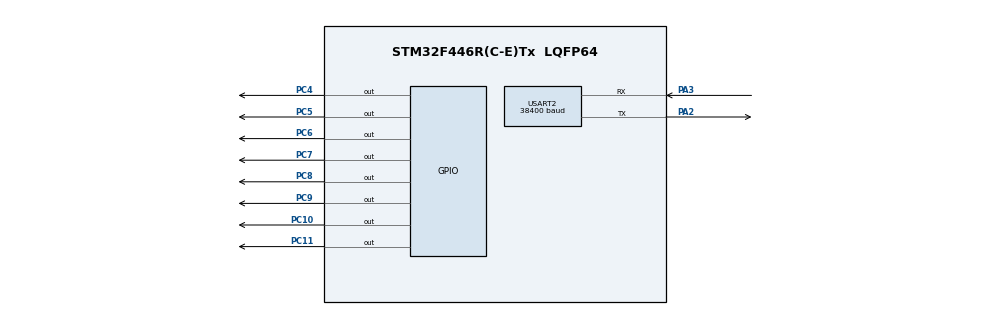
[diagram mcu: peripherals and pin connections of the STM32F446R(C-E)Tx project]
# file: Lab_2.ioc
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Mcu.Family=STM32F4
Mcu.Name=STM32F446R(C-E)Tx
Mcu.Package=LQFP64
NVIC.PriorityGroup=NVIC_PRIORITYGROUP_4
NVIC.USART2_IRQn=true\:0\:0\:false\:false\:true\:true\:true\:true
PA2.Mode=Asynchronous
PA2.Signal=USART2_TX
PA3.Mode=Asynchronous
PA3.Signal=USART2_RX
PC10.Signal=GPIO_Output
PC11.Signal=GPIO_Output
PC4.Signal=GPIO_Output
PC5.Signal=GPIO_Output
PC6.Signal=GPIO_Output
PC7.Signal=GPIO_Output
PC8.Signal=GPIO_Output
PC9.Signal=GPIO_Output
ProjectManager.HeapSize=0x200
ProjectManager.StackSize=0x400
ProjectManager.TargetToolchain=STM32CubeIDE
RCC.CortexFreq_Value=16000000
RCC.USBFreq_Value=96000000
RCC.VCOOutputFreq_Value=192000000
USART2.BaudRate=38400
USART2.VirtualMode=VM_ASYNC
board=custom

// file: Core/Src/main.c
/* USER CODE BEGIN Header */
/**
  ******************************************************************************
  * @file           : main.c
  * @brief          : Main program body
  ******************************************************************************
  * @attention
  *
  * Copyright (c) 2024 STMicroelectronics.
  * All rights reserved.
  *
  * This software is licensed under terms that can be found in the LICENSE file
  * in the root directory of this software component.
  * If no LICENSE file comes with this software, it is provided AS-IS.
  *
  ******************************************************************************
  */
/* USER CODE END Header */
#include "main.h"

/* USER CODE BEGIN Includes */
#include "string.h"
/* USER CODE END Includes */

/* USER CODE BEGIN PD */
#define COMMAND_SIZE 10
#define START_SYMBOL 'S'
#define END_SYMBOL 'E'
#define INVALID_COMMAND "INVALID_COMND"
#define PING_COMMAND "COMND_PING"
#define TURN_ON_ALL_LEDS "LEDS_ALL_1"
#define TURN_OFF_ALL_LEDS "LEDS_ALL_0"
#define LED_STATUS "LED_STATUS"
/* USER CODE END PD */

 UART_HandleTypeDef huart2;

void SystemClock_Config(void);
static void MX_GPIO_Init(void);
static void MX_USART2_UART_Init(void);
/* USER CODE BEGIN PFP */
void handle_invalid_command();
void handle_command(char* command);
/* USER CODE END PFP */

/* USER CODE BEGIN 0 */
uint8_t rxData[12];
uint16_t leds[8] = {GPIO_PIN_4, GPIO_PIN_5, GPIO_PIN_6, GPIO_PIN_7,
		  	  	    GPIO_PIN_8, GPIO_PIN_9, GPIO_PIN_10, GPIO_PIN_11};
/* USER CODE END 0 */

int main(void)
{

  /* MCU Configuration--------------------------------------------------------*/

  /* Reset of all peripherals, Initializes the Flash interface and the Systick. */
  HAL_Init();

  /* Configure the system clock */
  SystemClock_Config();

  /* Initialize all configured peripherals */
  MX_GPIO_Init();
  MX_USART2_UART_Init();
  /* USER CODE BEGIN 2 */
  HAL_UART_Receive_IT(&huart2, rxData, sizeof(rxData));
  /* USER CODE END 2 */

  /* Infinite loop */
  while (1)
  {

  }
}

void SystemClock_Config(void)
{
  RCC_OscInitTypeDef RCC_OscInitStruct = {0};
  RCC_ClkInitTypeDef RCC_ClkInitStruct = {0};

  /** Configure the main internal regulator output voltage
  */
  __HAL_RCC_PWR_CLK_ENABLE();
  __HAL_PWR_VOLTAGESCALING_CONFIG(PWR_REGULATOR_VOLTAGE_SCALE3);

  /** Initializes the RCC Oscillators according to the specified parameters
  * in the RCC_OscInitTypeDef structure.
  */
  RCC_OscInitStruct.OscillatorType = RCC_OSCILLATORTYPE_HSI;
  RCC_OscInitStruct.HSIState = RCC_HSI_ON;
  RCC_OscInitStruct.HSICalibrationValue = RCC_HSICALIBRATION_DEFAULT;
  RCC_OscInitStruct.PLL.PLLState = RCC_PLL_NONE;
  if (HAL_RCC_OscConfig(&RCC_OscInitStruct) != HAL_OK)
  {
    Error_Handler();
  }

  /** Initializes the CPU, AHB and APB buses clocks
  */
  RCC_ClkInitStruct.ClockType = RCC_CLOCKTYPE_HCLK|RCC_CLOCKTYPE_SYSCLK
                              |RCC_CLOCKTYPE_PCLK1|RCC_CLOCKTYPE_PCLK2;
  RCC_ClkInitStruct.SYSCLKSource = RCC_SYSCLKSOURCE_HSI;
  RCC_ClkInitStruct.AHBCLKDivider = RCC_SYSCLK_DIV1;
  RCC_ClkInitStruct.APB1CLKDivider = RCC_HCLK_DIV1;
  RCC_ClkInitStruct.APB2CLKDivider = RCC_HCLK_DIV1;

  if (HAL_RCC_ClockConfig(&RCC_ClkInitStruct, FLASH_LATENCY_0) != HAL_OK)
  {
    Error_Handler();
  }
}

static void MX_USART2_UART_Init(void)
{

  huart2.Instance = USART2;
  huart2.Init.BaudRate = 38400;
  huart2.Init.WordLength = UART_WORDLENGTH_8B;
  huart2.Init.StopBits = UART_STOPBITS_1;
  huart2.Init.Parity = UART_PARITY_NONE;
  huart2.Init.Mode = UART_MODE_TX_RX;
  huart2.Init.HwFlowCtl = UART_HWCONTROL_NONE;
  huart2.Init.OverSampling = UART_OVERSAMPLING_16;
  if (HAL_UART_Init(&huart2) != HAL_OK)
  {
    Error_Handler();
  }

}

static void MX_GPIO_Init(void)
{
  GPIO_InitTypeDef GPIO_InitStruct = {0};

  /* GPIO Ports Clock Enable */
  __HAL_RCC_GPIOA_CLK_ENABLE();
  __HAL_RCC_GPIOC_CLK_ENABLE();

  /*Configure GPIO pin Output Level */
  HAL_GPIO_WritePin(GPIOC, GPIO_PIN_4|GPIO_PIN_5|GPIO_PIN_6|GPIO_PIN_7
                          |GPIO_PIN_8|GPIO_PIN_9|GPIO_PIN_10|GPIO_PIN_11, GPIO_PIN_RESET);

  /*Configure GPIO pins : PC4 PC5 PC6 PC7
                           PC8 PC9 PC10 PC11 */
  GPIO_InitStruct.Pin = GPIO_PIN_4|GPIO_PIN_5|GPIO_PIN_6|GPIO_PIN_7
                          |GPIO_PIN_8|GPIO_PIN_9|GPIO_PIN_10|GPIO_PIN_11;
  GPIO_InitStruct.Mode = GPIO_MODE_OUTPUT_PP;
  GPIO_InitStruct.Pull = GPIO_NOPULL;
  GPIO_InitStruct.Speed = GPIO_SPEED_FREQ_LOW;
  HAL_GPIO_Init(GPIOC, &GPIO_InitStruct);

}

/* USER CODE BEGIN 4 */
void handle_invalid_command() {
	HAL_UART_Transmit_IT(&huart2, (uint8_t *)INVALID_COMMAND, strlen(INVALID_COMMAND));
}

void handle_command(char* command) {
  if (strncmp(command, PING_COMMAND, COMMAND_SIZE) == 0) {
	  HAL_UART_Transmit_IT(&huart2, (uint8_t *)PING_COMMAND, strlen(PING_COMMAND));
	  return;
  }
  if (strncmp(command, TURN_ON_ALL_LEDS, COMMAND_SIZE) == 0) {
	  for (int i = 0; i < sizeof(leds) / sizeof(leds[0]); i++)
		  HAL_GPIO_WritePin(GPIOC, leds[i], GPIO_PIN_SET);
	  HAL_UART_Transmit_IT(&huart2, (uint8_t *)"LEDS_TURNED_ON", 14);
	  return;
  }
  if (strncmp(command, TURN_OFF_ALL_LEDS, COMMAND_SIZE) == 0) {
      for (int i = 0; i < sizeof(leds) / sizeof(leds[0]); i++)
      	  HAL_GPIO_WritePin(GPIOC, leds[i], GPIO_PIN_RESET);
      HAL_UART_Transmit_IT(&huart2, (uint8_t *)"LEDS_TURNED_OFF", 15);
      return;
  }
  if (command[0] == '0' && command[1] == 'b') {
	  for (int i = 2; i < COMMAND_SIZE; i++) {
		  if (command[i] == '1') {
			  HAL_GPIO_WritePin(GPIOC, leds[i - 2], GPIO_PIN_SET);
		  } else if (command[i] == '0') {
		  	  HAL_GPIO_WritePin(GPIOC, leds[i - 2], GPIO_PIN_RESET);
		  }
	  }
	  HAL_UART_Transmit_IT(&huart2, (uint8_t *)"LEDS_CONFIGURATED", 17);
	  return;
  }
  if (strncmp(command, LED_STATUS, COMMAND_SIZE) == 0) {
	  char temp[10] = {'0', 'b', '0', '0', '0', '0', '0', '0', '0', '0'};
	  for (int i = 0; i < sizeof(leds) / sizeof(leds[0]); i++)
		  if (HAL_GPIO_ReadPin(GPIOC, leds[i]) == GPIO_PIN_SET) temp[i + 2] = '1';
      HAL_UART_Transmit(&huart2, (uint8_t *)temp, strlen(temp) - 3, HAL_MAX_DELAY); // this is curious
      return;
  }
  handle_invalid_command();
}

void HAL_UART_RxCpltCallback(UART_HandleTypeDef *huart) {
	if (huart->Instance == USART2) {
		if (rxData[0] == START_SYMBOL && rxData[11] == END_SYMBOL) {
			char command[COMMAND_SIZE + 1];
			strncpy(command, (char *)&rxData[1], COMMAND_SIZE);
			command[COMMAND_SIZE] = '\0';
			handle_command(command);
		} else {
			handle_invalid_command();
		}
		memset(rxData, 0, sizeof(rxData));
		HAL_UART_Receive_IT(&huart2, rxData, sizeof(rxData));
	}
}
/* USER CODE END 4 */

void Error_Handler(void)
{
  __disable_irq();
  while (1)
  {
  }
}
